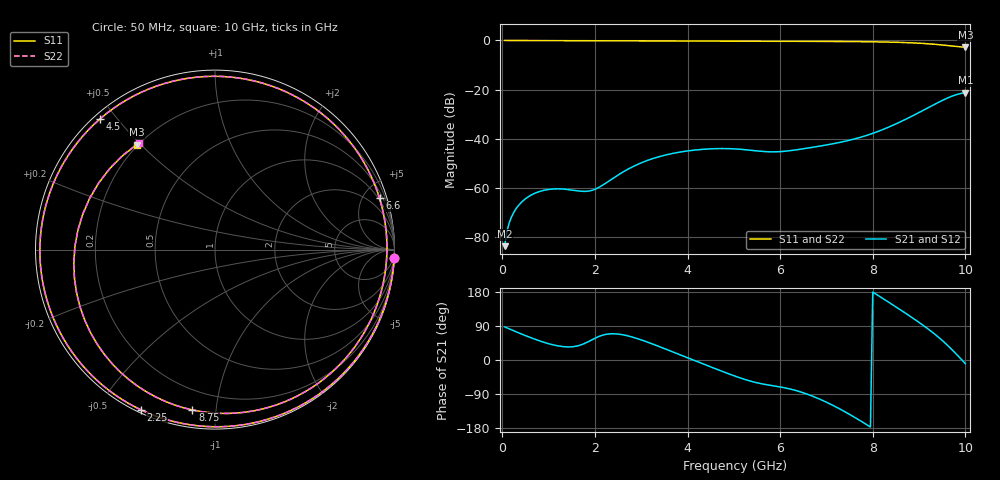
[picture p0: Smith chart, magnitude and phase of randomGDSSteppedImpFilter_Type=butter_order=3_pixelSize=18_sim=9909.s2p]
! freq	dB(S11)	phase(S11)	dB(S12)	phase(S12)
!  dB(S21)	phase(S21)	dB(S22)	phase(S22)
!S-par simulation data
#  GHz  S  DB  R 50
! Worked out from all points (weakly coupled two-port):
!   200 points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, 50 MHz to 10 GHz, reference 50 ohm
!   highest |S21| = -21.23 dB at 10 GHz (marker M1); lowest = -83.6 dB at 50 MHz (marker M2)
!   lowest |S11| = -2.7 dB at 10 GHz (marker M3), VSWR 6.41, Z = 9.71 + j24.3 ohm
!   |S11| at or under -10 dB: nowhere
!   |S22| runs from -2.7 to 0.0 dB; largest |S21 - S12| = 0
!   S11 on the Smith chart (normalised r, x): 50 MHz: 0, -43; 2.25 GHz: 0.01, -0.64; 4.5 GHz: 0.02, +0.45; 6.6 GHz: 0.88, +6.44; 8.75 GHz: 0.09, -0.86; 10 GHz: 0.19, +0.49
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0.05  -0.00 -2.7  -83.59 87.5  -83.59 87.5  -0.00 -2.7
0.25  -0.02 -13.2  -69.80 76.9  -69.80 76.9  -0.02 -13.2
0.6  -0.04 -31.5  -63.07 59.6  -63.07 59.6  -0.04 -31.5
1.2  -0.08 -62.4  -60.30 37.3  -60.30 37.3  -0.08 -62.4
1.75  -0.11 -90.1  -61.33 42.2  -61.33 42.2  -0.11 -90.1
2.25  -0.14 -114.9  -57.79 67.9  -57.79 67.9  -0.14 -114.9
2.85  -0.18 -144.4  -51.00 59.0  -51.00 59.0  -0.18 -144.5
3.4  -0.20 -171.8  -47.16 34.9  -47.16 34.9  -0.20 -171.8
3.95  -0.23 160.3  -45.03 8.3  -45.03 8.3  -0.23 160.2
4.5  -0.27 131.4  -44.04 -18.2  -44.04 -18.2  -0.27 131.3
5.05  -0.29 101.7  -44.10 -43.7  -44.10 -43.7  -0.29 101.6
5.75  -0.32 63.3  -45.24 -66.1  -45.24 -66.1  -0.32 63.1
6.2  -0.34 38.7  -44.82 -76.1  -44.82 -76.1  -0.34 38.6
6.6  -0.35 17.3  -43.72 -90.8  -43.72 -90.8  -0.35 17.2
6.7  -0.36 12.1  -43.42 -95.5  -43.42 -95.5  -0.36 11.9
7.5  -0.44 -29.2  -40.53 -143.6  -40.53 -143.6  -0.44 -29.4
8.35  -0.67 -73.9  -35.17 152.0  -35.17 152.0  -0.67 -74.2
8.75  -0.89 -98.0  -31.67 120.0  -31.67 120.0  -0.90 -98.5
9.15  -1.28 -127.7  -27.80 86.0  -27.80 86.0  -1.29 -128.3
9.5  -1.84 -162.2  -24.39 51.5  -24.39 51.5  -1.86 -163.1
9.75  -2.34 165.7  -22.36 22.5  -22.36 22.5  -2.36 164.5
10  -2.73 126.8  -21.23 -9.7  -21.23 -9.7  -2.73 125.4
